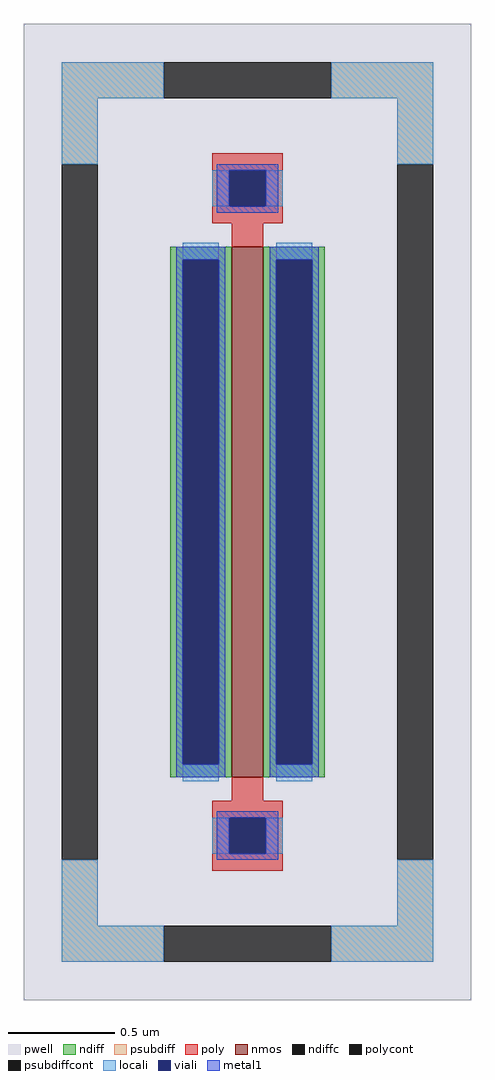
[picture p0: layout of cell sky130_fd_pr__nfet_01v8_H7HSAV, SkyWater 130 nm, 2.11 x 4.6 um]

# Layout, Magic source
magic
tech sky130A
magscale 1 2
<< pwell >>
rect -211 -460 211 460
<< nmos >>
rect -15 -250 15 250
<< ndiff >>
rect -73 238 -15 250
rect -73 -238 -61 238
rect -27 -238 -15 238
rect -73 -250 -15 -238
rect 15 238 73 250
rect 15 -238 27 238
rect 61 -238 73 238
rect 15 -250 73 -238
<< ndiffc >>
rect -61 -238 -27 238
rect 27 -238 61 238
<< psubdiff >>
rect -175 390 -79 424
rect 79 390 175 424
rect -175 328 -141 390
rect 141 328 175 390
rect -175 -390 -141 -328
rect 141 -390 175 -328
rect -175 -424 -79 -390
rect 79 -424 175 -390
<< psubdiffcont >>
rect -79 390 79 424
rect -175 -328 -141 328
rect 141 -328 175 328
rect -79 -424 79 -390
<< poly >>
rect -33 322 33 338
rect -33 288 -17 322
rect 17 288 33 322
rect -33 272 33 288
rect -15 250 15 272
rect -15 -272 15 -250
rect -33 -288 33 -272
rect -33 -322 -17 -288
rect 17 -322 33 -288
rect -33 -338 33 -322
<< polycont >>
rect -17 288 17 322
rect -17 -322 17 -288
<< locali >>
rect -175 390 -79 424
rect 79 390 175 424
rect -175 328 -141 390
rect 141 328 175 390
rect -33 288 -17 322
rect 17 288 33 322
rect -61 238 -27 254
rect -61 -254 -27 -238
rect 27 238 61 254
rect 27 -254 61 -238
rect -33 -322 -17 -288
rect 17 -322 33 -288
rect -175 -390 -141 -328
rect 141 -390 175 -328
rect -175 -424 -79 -390
rect 79 -424 175 -390
<< viali >>
rect -17 288 17 322
rect -61 -238 -27 238
rect 27 -238 61 238
rect -17 -322 17 -288
<< metal1 >>
rect -29 322 29 328
rect -29 288 -17 322
rect 17 288 29 322
rect -29 282 29 288
rect -67 238 -21 250
rect -67 -238 -61 238
rect -27 -238 -21 238
rect -67 -250 -21 -238
rect 21 238 67 250
rect 21 -238 27 238
rect 61 -238 67 238
rect 21 -250 67 -238
rect -29 -288 29 -282
rect -29 -322 -17 -288
rect 17 -322 29 -288
rect -29 -328 29 -322
<< properties >>
string FIXED_BBOX -158 -407 158 407
string gencell sky130_fd_pr__nfet_01v8
string library sky130
string parameters w 2.5 l 0.15 m 1 nf 1 diffcov 100 polycov 100 guard 1 glc 1 grc 1 gtc 1 gbc 1 tbcov 100 rlcov 100 topc 1 botc 1 poverlap 0 doverlap 1 lmin 0.15 wmin 0.42 compatible {sky130_fd_pr__nfet_01v8 sky130_fd_pr__nfet_01v8_lvt  sky130_fd_bs_flash__special_sonosfet_star  sky130_fd_pr__nfet_g5v0d10v5 sky130_fd_pr__nfet_05v0_nvt  sky130_fd_pr__nfet_03v3_nvt} full_metal 1 viasrc 100 viadrn 100 viagate 100 viagb 0 viagr 0 viagl 0 viagt 0
<< end >>
